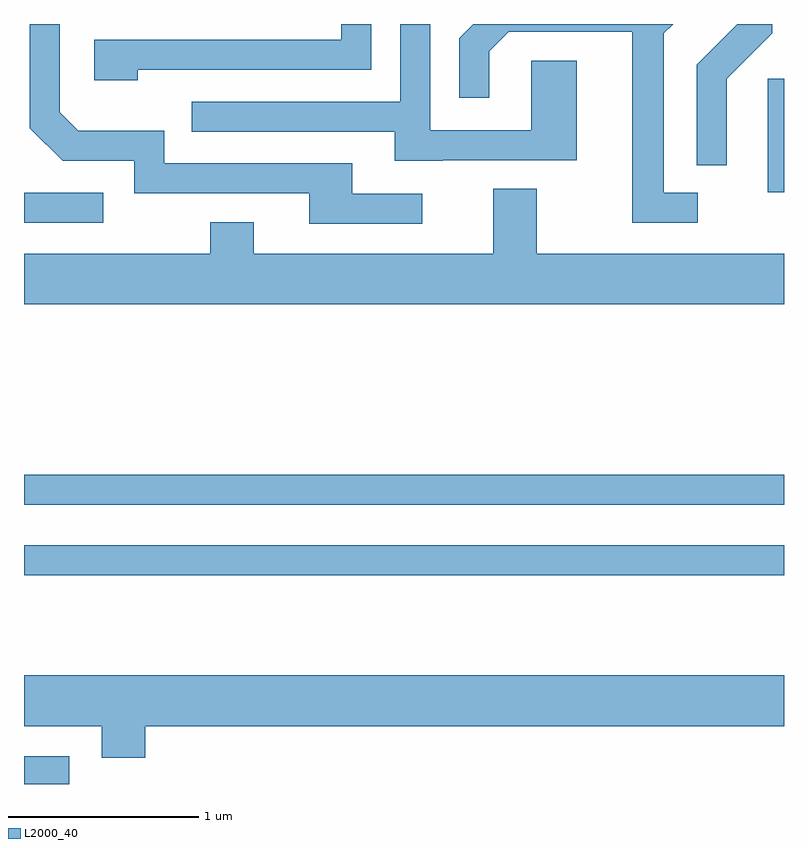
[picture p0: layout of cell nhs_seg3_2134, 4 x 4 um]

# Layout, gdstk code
import gdstk
lib = gdstk.Library(unit=1e-6, precision=1e-09)
def R(c, l, rs):  # rectangles x0, y0, x1, y1
    for r in rs: c.add(gdstk.rectangle(r[:2], r[2:], *l))
def P(c, l, *ps):  # polygons
    for p in ps: c.add(gdstk.Polygon(p, *l))
L2000_40 = (2000, 40)

nhs_seg3_2134 = lib.new_cell('nhs_seg3_2134')
R(nhs_seg3_2134, L2000_40, [(247.611,1167.892,247.849,1168.039), (247.611,1168.991,251.611,1169.149), (247.611,1169.361,251.611,1169.519), (247.611,1170.846,248.028,1171.004), (251.526,1171.006,251.611,1171.604)])
P(nhs_seg3_2134, L2000_40, [(249.708,1170.999),(249.339,1170.999),(249.339,1171.159),(248.349,1171.159),(248.349,1171.329),(247.897,1171.329),(247.799,1171.427),(247.799,1171.892),(247.641,1171.892),(247.641,1171.344),(247.814,1171.171),(248.191,1171.171),(248.191,1171.001),(249.111,1171.001),(249.111,1170.841),(249.708,1170.841)],
  [(248.209,1171.651),(249.439,1171.651),(249.439,1171.892),(249.281,1171.892),(249.281,1171.809),(247.981,1171.809),(247.981,1171.596),(248.209,1171.596)],
  [(251.309,1171.604),(251.549,1171.844),(251.549,1171.892),(251.366,1171.892),(251.151,1171.677),(251.151,1171.148),(251.309,1171.148)],
  [(251.158,1171.004),(250.979,1171.004),(250.979,1171.844),(251.028,1171.892),(249.976,1171.892),(249.901,1171.817),(249.901,1171.503),(250.059,1171.503),(250.059,1171.749),(250.162,1171.851),(250.811,1171.851),(250.811,1170.846),(251.158,1170.846)],
  [(249.815,1171.176),(250.519,1171.176),(250.519,1171.699),(250.281,1171.699),(250.281,1171.334),(249.749,1171.334),(249.749,1171.892),(249.591,1171.892),(249.591,1171.484),(248.493,1171.484),(248.493,1171.326),(249.561,1171.326),(249.561,1171.171),(249.815,1171.171)],
  [(251.611,1170.684),(250.309,1170.684),(250.309,1171.024),(250.081,1171.024),(250.081,1170.684),(248.819,1170.684),(248.819,1170.849),(248.591,1170.849),(248.591,1170.684),(247.611,1170.684),(247.611,1170.416),(251.611,1170.416)],
  [(248.249,1168.196),(251.611,1168.196),(251.611,1168.464),(247.611,1168.464),(247.611,1168.196),(248.021,1168.196),(248.021,1168.031),(248.249,1168.031)])

lib.write_gds('nhs_seg3_2134.gds')
